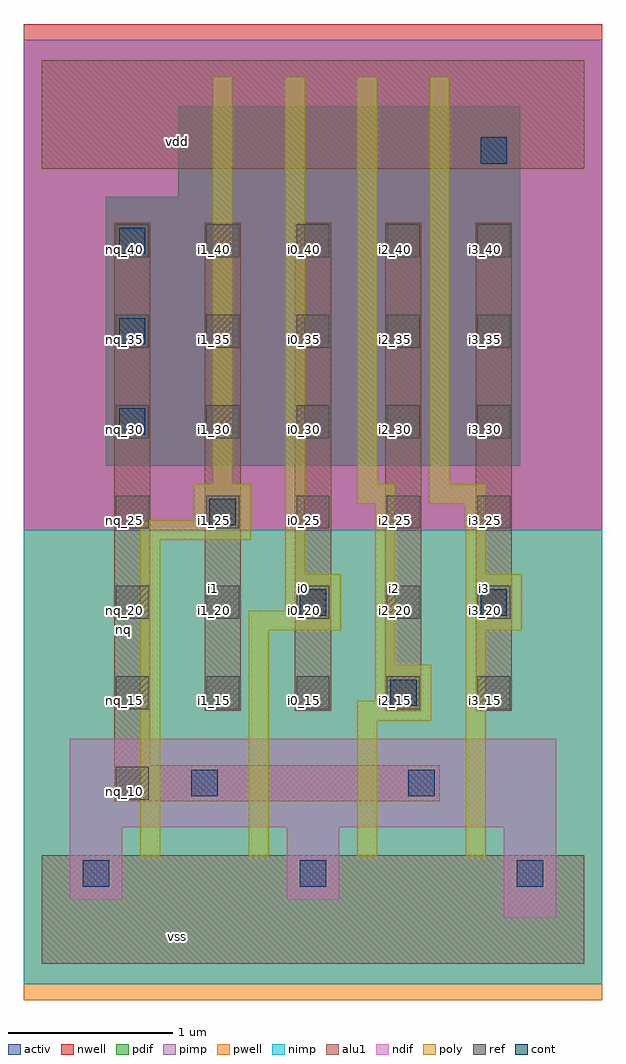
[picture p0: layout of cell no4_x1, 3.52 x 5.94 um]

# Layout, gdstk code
import gdstk
lib = gdstk.Library(unit=1e-6, precision=2.5e-09)
def R(c, l, rs):  # rectangles x0, y0, x1, y1
    for r in rs: c.add(gdstk.rectangle(r[:2], r[2:], *l))
def A(c, l, x, y, w, h, nx, ny, dx, dy):  # array of equal rectangles
    R(c, l, [(x+i*dx, y+j*dy, x+i*dx+w, y+j*dy+h) for i in range(nx) for j in range(ny)])
ndif = (3, 0)
pdif = (4, 0)
ref = (24, 0)
cont = (25, 0)
pwell = (41, 0)
nwell = (42, 0)
activ = (43, 0)
pimp = (44, 0)
nimp = (45, 0)
poly = (46, 0)
alu1 = (49, 0)

no4_x1 = lib.new_cell('no4_x1')
R(no4_x1, ndif, [(2.81,0.28,3.13,0.83), (2.81,0.28,3.13,0.83), (0.17,0.39,0.49,0.83), (0.17,0.39,0.49,0.83), (1.49,0.39,1.81,0.83), (1.49,0.39,1.81,0.83), (0.17,0.83,3.13,1.37), (0.17,0.83,3.13,1.37)])
R(no4_x1, pdif, [(0.39,3.03,2.91,4.67), (0.39,3.03,2.91,4.67), (0.83,4.67,2.91,5.22), (0.83,4.67,2.91,5.22)])
A(no4_x1, ref, 0.45, 1.55, 0.2, 0.2, 5, 6, 0.55, 0.55)
R(no4_x1, ref, [(0.45,1,0.65,1.2)])
A(no4_x1, cont, 0.25, 0.47, 0.16, 0.16, 3, 1, 1.32, 0)
A(no4_x1, cont, 0.47, 3.22, 0.16, 0.16, 1, 3, 0, 0.55)
R(no4_x1, cont, [(0.91,1.02,1.07,1.18), (2.23,1.02,2.39,1.18), (2.12,1.57,2.28,1.73), (1.57,2.12,1.73,2.28), (2.67,2.12,2.83,2.28), (1.02,2.67,1.18,2.83), (2.67,4.87,2.83,5.03)])
R(no4_x1, pwell, [(-0.11,-0.22,3.41,2.64)])
R(no4_x1, nwell, [(-0.11,2.64,3.41,5.72)])
R(no4_x1, activ, [(2.81,0.28,3.13,0.83), (2.81,0.28,3.13,0.83), (0.17,0.39,0.49,0.83), (0.17,0.39,0.49,0.83), (1.49,0.39,1.81,0.83), (1.49,0.39,1.81,0.83), (0.17,0.83,3.13,1.37), (0.17,0.83,3.13,1.37), (0.39,3.03,2.91,4.67), (0.39,3.03,2.91,4.67), (0.83,4.67,2.91,5.22), (0.83,4.67,2.91,5.22)])
R(no4_x1, pimp, [(-0.11,2.64,3.41,5.625)])
R(no4_x1, nimp, [(-0.11,-0.125,3.41,2.64)])
R(no4_x1, poly, [(0.6,0.65,0.72,2.58), (1.26,0.65,1.38,2.03), (1.92,0.65,2.04,1.48), (2.58,0.65,2.7,2.03), (1.92,1.48,2.37,1.6), (2.03,1.6,2.37,1.82), (2.03,1.82,2.15,2.8), (1.26,2.03,1.82,2.15), (2.58,2.03,2.92,2.37), (1.48,2.15,1.82,2.37), (1.48,2.37,1.6,5.4), (2.58,2.37,2.7,2.8), (0.6,2.58,1.27,2.7), (0.93,2.7,1.27,2.92), (1.92,2.8,2.15,2.92), (2.36,2.8,2.7,2.92), (1.04,2.92,1.16,5.4), (1.92,2.92,2.04,5.4), (2.36,2.92,2.48,5.4)])
A(no4_x1, alu1, 0.99, 1.54, 0.22, 2.97, 4, 1, 0.55, 0)
R(no4_x1, alu1, [(0,0,3.3,0.66), (0.44,0.99,2.42,1.21), (0.44,1.21,0.66,4.51), (0,4.84,3.3,5.5)])
no4_x1.add(gdstk.Label('vss', (0.825,0.165), layer=49, texttype=0))
no4_x1.add(gdstk.Label('i3', (2.695,2.2825), layer=49, texttype=0))
no4_x1.add(gdstk.Label('i2', (2.145,2.2825), layer=49, texttype=0))
no4_x1.add(gdstk.Label('i0', (1.595,2.2825), layer=49, texttype=0))
no4_x1.add(gdstk.Label('i1', (1.045,2.2825), layer=49, texttype=0))
no4_x1.add(gdstk.Label('nq', (0.495,2.035), layer=49, texttype=0))
no4_x1.add(gdstk.Label('vdd', (0.825,5.005), layer=49, texttype=0))
no4_x1.add(gdstk.Label('nq_10', (0.5,1.05), layer=24, texttype=0))
no4_x1.add(gdstk.Label('nq_35', (0.5,3.8), layer=24, texttype=0))
no4_x1.add(gdstk.Label('nq_30', (0.5,3.25), layer=24, texttype=0))
no4_x1.add(gdstk.Label('nq_25', (0.5,2.7), layer=24, texttype=0))
no4_x1.add(gdstk.Label('nq_20', (0.5,2.15), layer=24, texttype=0))
no4_x1.add(gdstk.Label('nq_15', (0.5,1.6), layer=24, texttype=0))
no4_x1.add(gdstk.Label('nq_40', (0.5,4.35), layer=24, texttype=0))
no4_x1.add(gdstk.Label('i3_15', (2.7,1.6), layer=24, texttype=0))
no4_x1.add(gdstk.Label('i3_20', (2.7,2.15), layer=24, texttype=0))
no4_x1.add(gdstk.Label('i3_25', (2.7,2.7), layer=24, texttype=0))
no4_x1.add(gdstk.Label('i3_30', (2.7,3.25), layer=24, texttype=0))
no4_x1.add(gdstk.Label('i3_35', (2.7,3.8), layer=24, texttype=0))
no4_x1.add(gdstk.Label('i3_40', (2.7,4.35), layer=24, texttype=0))
no4_x1.add(gdstk.Label('i1_40', (1.05,4.35), layer=24, texttype=0))
no4_x1.add(gdstk.Label('i1_35', (1.05,3.8), layer=24, texttype=0))
no4_x1.add(gdstk.Label('i1_30', (1.05,3.25), layer=24, texttype=0))
no4_x1.add(gdstk.Label('i1_25', (1.05,2.7), layer=24, texttype=0))
no4_x1.add(gdstk.Label('i1_20', (1.05,2.15), layer=24, texttype=0))
no4_x1.add(gdstk.Label('i1_15', (1.05,1.6), layer=24, texttype=0))
no4_x1.add(gdstk.Label('i0_15', (1.6,1.6), layer=24, texttype=0))
no4_x1.add(gdstk.Label('i0_20', (1.6,2.15), layer=24, texttype=0))
no4_x1.add(gdstk.Label('i0_25', (1.6,2.7), layer=24, texttype=0))
no4_x1.add(gdstk.Label('i0_30', (1.6,3.25), layer=24, texttype=0))
no4_x1.add(gdstk.Label('i0_35', (1.6,3.8), layer=24, texttype=0))
no4_x1.add(gdstk.Label('i0_40', (1.6,4.35), layer=24, texttype=0))
no4_x1.add(gdstk.Label('i2_15', (2.15,1.6), layer=24, texttype=0))
no4_x1.add(gdstk.Label('i2_20', (2.15,2.15), layer=24, texttype=0))
no4_x1.add(gdstk.Label('i2_25', (2.15,2.7), layer=24, texttype=0))
no4_x1.add(gdstk.Label('i2_30', (2.15,3.25), layer=24, texttype=0))
no4_x1.add(gdstk.Label('i2_35', (2.15,3.8), layer=24, texttype=0))
no4_x1.add(gdstk.Label('i2_40', (2.15,4.35), layer=24, texttype=0))

lib.write_gds('no4_x1.gds')
